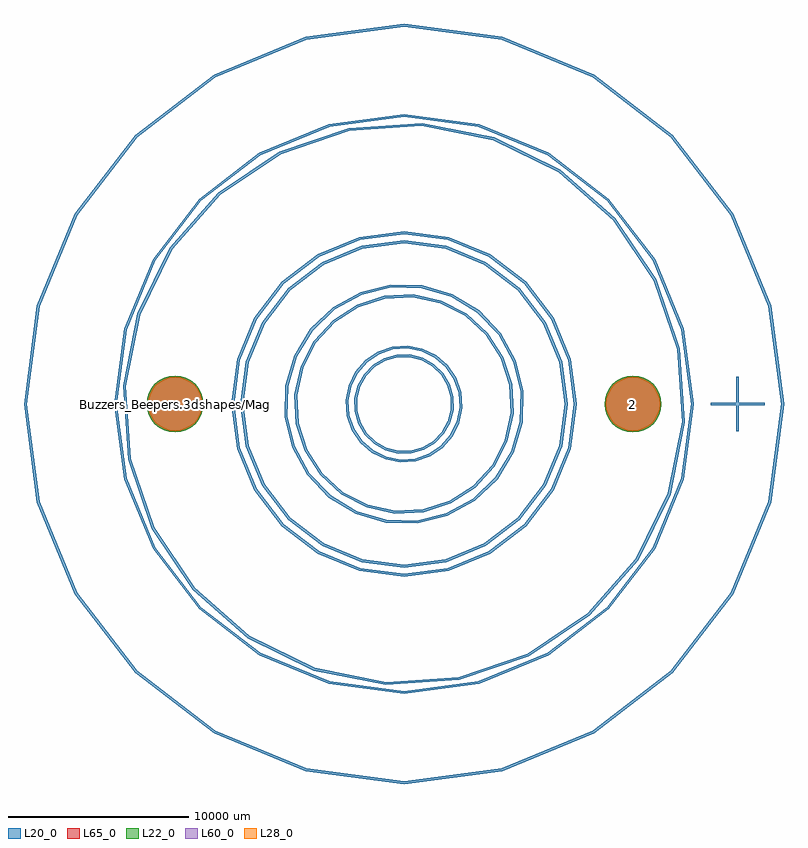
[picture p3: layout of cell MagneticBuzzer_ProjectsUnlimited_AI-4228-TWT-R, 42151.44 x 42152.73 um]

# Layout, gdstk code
import gdstk
lib = gdstk.Library(unit=1e-6, precision=1e-09)
def P(c, l, *ps):  # polygons
    for p in ps: c.add(gdstk.Polygon(p, *l))
L20_0 = (20, 0)
L22_0 = (22, 0)
L28_0 = (28, 0)
L60_0 = (60, 0)
L65_0 = (65, 0)

magneticbuzzer_projectsu = lib.new_cell('MagneticBuzzer_ProjectsUnlimited_AI-4228-TWT-R')
P(magneticbuzzer_projectsu, L22_0, [(26974.87,0),(26944.609,307.242),(26854.99,602.677),(26709.457,874.951),(26513.601,1113.601),(26274.951,1309.457),(26002.677,1454.99),(25707.242,1544.609),(25400,1574.87),(25092.758,1544.609),(24797.323,1454.99),(24525.049,1309.457),(24286.399,1113.601),(24090.543,874.951),(23945.01,602.677),(23855.391,307.242),(23825.13,0),(23855.391,-307.242),(23945.01,-602.677),(24090.543,-874.951),(24286.399,-1113.601),(24525.049,-1309.457),(24797.323,-1454.99),(25092.758,-1544.609),(25400,-1574.87),(25707.242,-1544.609),(26002.677,-1454.99),(26274.951,-1309.457),(26513.601,-1113.601),(26709.457,-874.951),(26854.99,-602.677),(26944.609,-307.242)],
  [(1574.87,0),(1544.609,307.242),(1454.99,602.677),(1309.457,874.951),(1113.601,1113.601),(874.951,1309.457),(602.677,1454.99),(307.242,1544.609),(0,1574.87),(-307.242,1544.609),(-602.677,1454.99),(-874.951,1309.457),(-1113.601,1113.601),(-1309.457,874.951),(-1454.99,602.677),(-1544.609,307.242),(-1574.87,0),(-1544.609,-307.242),(-1454.99,-602.677),(-1309.457,-874.951),(-1113.601,-1113.601),(-874.951,-1309.457),(-602.677,-1454.99),(-307.242,-1544.609),(0,-1574.87),(307.242,-1544.609),(602.677,-1454.99),(874.951,-1309.457),(1113.601,-1113.601),(1309.457,-874.951),(1454.99,-602.677),(1544.609,-307.242)])
P(magneticbuzzer_projectsu, L28_0, [(26899.87,0),(26871.05,292.61),(26785.699,573.975),(26647.096,833.283),(26460.568,1060.568),(26233.283,1247.096),(25973.975,1385.699),(25692.61,1471.05),(25400,1499.87),(25107.39,1471.05),(24826.025,1385.699),(24566.717,1247.096),(24339.432,1060.568),(24152.904,833.283),(24014.301,573.975),(23928.95,292.61),(23900.13,0),(23928.95,-292.61),(24014.301,-573.975),(24152.904,-833.283),(24339.432,-1060.568),(24566.717,-1247.096),(24826.025,-1385.699),(25107.39,-1471.05),(25400,-1499.87),(25692.61,-1471.05),(25973.975,-1385.699),(26233.283,-1247.096),(26460.568,-1060.568),(26647.096,-833.283),(26785.699,-573.975),(26871.05,-292.61)],
  [(1499.87,0),(1471.05,292.61),(1385.699,573.975),(1247.096,833.283),(1060.568,1060.568),(833.283,1247.096),(573.975,1385.699),(292.61,1471.05),(0,1499.87),(-292.61,1471.05),(-573.975,1385.699),(-833.283,1247.096),(-1060.568,1060.568),(-1247.096,833.283),(-1385.699,573.975),(-1471.05,292.61),(-1499.87,0),(-1471.05,-292.61),(-1385.699,-573.975),(-1247.096,-833.283),(-1060.568,-1060.568),(-833.283,-1247.096),(-573.975,-1385.699),(-292.61,-1471.05),(0,-1499.87),(292.61,-1471.05),(573.975,-1385.699),(833.283,-1247.096),(1060.568,-1060.568),(1247.096,-833.283),(1385.699,-573.975),(1471.05,-292.61)])
P(magneticbuzzer_projectsu, L60_0, [(26899.87,0),(26871.05,292.61),(26785.699,573.975),(26647.096,833.283),(26460.568,1060.568),(26233.283,1247.096),(25973.975,1385.699),(25692.61,1471.05),(25400,1499.87),(25107.39,1471.05),(24826.025,1385.699),(24566.717,1247.096),(24339.432,1060.568),(24152.904,833.283),(24014.301,573.975),(23928.95,292.61),(23900.13,0),(23928.95,-292.61),(24014.301,-573.975),(24152.904,-833.283),(24339.432,-1060.568),(24566.717,-1247.096),(24826.025,-1385.699),(25107.39,-1471.05),(25400,-1499.87),(25692.61,-1471.05),(25973.975,-1385.699),(26233.283,-1247.096),(26460.568,-1060.568),(26647.096,-833.283),(26785.699,-573.975),(26871.05,-292.61)],
  [(1499.87,0),(1471.05,292.61),(1385.699,573.975),(1247.096,833.283),(1060.568,1060.568),(833.283,1247.096),(573.975,1385.699),(292.61,1471.05),(0,1499.87),(-292.61,1471.05),(-573.975,1385.699),(-833.283,1247.096),(-1060.568,1060.568),(-1247.096,833.283),(-1385.699,573.975),(-1471.05,292.61),(-1499.87,0),(-1471.05,-292.61),(-1385.699,-573.975),(-1247.096,-833.283),(-1060.568,-1060.568),(-833.283,-1247.096),(-573.975,-1385.699),(-292.61,-1471.05),(0,-1499.87),(292.61,-1471.05),(573.975,-1385.699),(833.283,-1247.096),(1060.568,-1060.568),(1247.096,-833.283),(1385.699,-573.975),(1471.05,-292.61)])
P(magneticbuzzer_projectsu, L65_0, [(26974.87,0),(26944.609,307.242),(26854.99,602.677),(26709.457,874.951),(26513.601,1113.601),(26274.951,1309.457),(26002.677,1454.99),(25707.242,1544.609),(25400,1574.87),(25092.758,1544.609),(24797.323,1454.99),(24525.049,1309.457),(24286.399,1113.601),(24090.543,874.951),(23945.01,602.677),(23855.391,307.242),(23825.13,0),(23855.391,-307.242),(23945.01,-602.677),(24090.543,-874.951),(24286.399,-1113.601),(24525.049,-1309.457),(24797.323,-1454.99),(25092.758,-1544.609),(25400,-1574.87),(25707.242,-1544.609),(26002.677,-1454.99),(26274.951,-1309.457),(26513.601,-1113.601),(26709.457,-874.951),(26854.99,-602.677),(26944.609,-307.242)],
  [(1574.87,0),(1544.609,307.242),(1454.99,602.677),(1309.457,874.951),(1113.601,1113.601),(874.951,1309.457),(602.677,1454.99),(307.242,1544.609),(0,1574.87),(-307.242,1544.609),(-602.677,1454.99),(-874.951,1309.457),(-1113.601,1113.601),(-1309.457,874.951),(-1454.99,602.677),(-1544.609,307.242),(-1574.87,0),(-1544.609,-307.242),(-1454.99,-602.677),(-1309.457,-874.951),(-1113.601,-1113.601),(-874.951,-1309.457),(-602.677,-1454.99),(-307.242,-1544.609),(0,-1574.87),(307.242,-1544.609),(602.677,-1454.99),(874.951,-1309.457),(1113.601,-1113.601),(1309.457,-874.951),(1454.99,-602.677),(1544.609,-307.242)])
magneticbuzzer_projectsu.add(gdstk.FlexPath([(33700.72,0),(32985.138,5435.386),(30887.157,10500.36),(27549.752,14849.752),(23200.36,18187.157),(18135.386,20285.138),(12700,21000.72),(7264.614,20285.138),(2199.64,18187.157),(-2149.752,14849.752),(-5487.157,10500.36),(-7585.138,5435.386),(-8300.72,0),(-7585.138,-5435.386),(-5487.157,-10500.36),(-2149.752,-14849.752),(2199.64,-18187.157),(7264.614,-20285.138),(12700,-21000.72),(18135.386,-20285.138),(23200.36,-18187.157),(27549.752,-14849.752),(30887.157,-10500.36),(32985.138,-5435.386),(33700.72,0)], 149.998, ends="flush", simple_path=True, layer=20, datatype=0))  # L20_0
magneticbuzzer_projectsu.add(gdstk.FlexPath([(28699.46,0),(28154.292,4140.965),(26555.939,7999.73),(24013.327,11313.327),(20699.73,13855.939),(16840.965,15454.292),(12700,15999.46),(8559.035,15454.292),(4700.27,13855.939),(1386.673,11313.327),(-1155.939,7999.73),(-2754.292,4140.965),(-3299.46,0),(-2754.292,-4140.965),(-1155.939,-7999.73),(1386.673,-11313.327),(4700.27,-13855.939),(8559.035,-15454.292),(12700,-15999.46),(16840.965,-15454.292),(20699.73,-13855.939),(24013.327,-11313.327),(26555.939,-7999.73),(28154.292,-4140.965),(28699.46,0)], 149.998, ends="flush", simple_path=True, layer=20, datatype=0))  # L20_0
magneticbuzzer_projectsu.add(gdstk.FlexPath([(28199.08,-1000.76),(27929.977,3044.797),(26622.977,6882.856),(24367.149,10251.86),(21316.224,12922.217),(17678.117,14711.946),(13700.76,15499.08),(9655.203,15229.977),(5817.144,13922.977),(2448.14,11667.149),(-222.217,8616.224),(-2011.946,4978.117),(-2799.08,1000.76),(-2529.977,-3044.797),(-1222.977,-6882.856),(1032.851,-10251.86),(4083.776,-12922.217),(7721.883,-14711.946),(11699.24,-15499.08),(15744.797,-15229.977),(19582.856,-13922.977),(22951.86,-11667.149),(25622.217,-8616.224),(27411.946,-4978.117),(28199.08,-1000.76)], 149.998, ends="flush", simple_path=True, layer=20, datatype=0))  # L20_0
magneticbuzzer_projectsu.add(gdstk.FlexPath([(22199.6,0),(21875.909,2458.677),(20926.895,4749.8),(19417.232,6717.232),(17449.8,8226.895),(15158.677,9175.909),(12700,9499.6),(10241.323,9175.909),(7950.2,8226.895),(5982.768,6717.232),(4473.105,4749.8),(3524.091,2458.677),(3200.4,0),(3524.091,-2458.677),(4473.105,-4749.8),(5982.768,-6717.232),(7950.2,-8226.895),(10241.323,-9175.909),(12700,-9499.6),(15158.677,-9175.909),(17449.8,-8226.895),(19417.232,-6717.232),(20926.895,-4749.8),(21875.909,-2458.677),(22199.6,0)], 149.998, ends="flush", simple_path=True, layer=20, datatype=0))  # L20_0
magneticbuzzer_projectsu.add(gdstk.FlexPath([(21699.22,0),(21392.579,2329.17),(20493.553,4499.61),(19063.409,6363.409),(17199.61,7793.553),(15029.17,8692.579),(12700,8999.22),(10370.83,8692.579),(8200.39,7793.553),(6336.591,6363.409),(4906.447,4499.61),(4007.421,2329.17),(3700.78,0),(4007.421,-2329.17),(4906.447,-4499.61),(6336.591,-6363.409),(8200.39,-7793.553),(10370.83,-8692.579),(12700,-8999.22),(15029.17,-8692.579),(17199.61,-7793.553),(19063.409,-6363.409),(20493.553,-4499.61),(21392.579,-2329.17),(21699.22,0)], 149.998, ends="flush", simple_path=True, layer=20, datatype=0))  # L20_0
magneticbuzzer_projectsu.add(gdstk.FlexPath([(19199.86,-1000.76),(19237.398,715.628),(18829.424,2383.246),(18003.739,3888.451),(16816.614,5128.664),(15348.947,6019.367),(13700.76,6499.86),(11984.372,6537.398),(10316.754,6129.424),(8811.549,5303.739),(7571.336,4116.614),(6680.633,2648.947),(6200.14,1000.76),(6162.602,-715.628),(6570.576,-2383.246),(7396.261,-3888.451),(8583.386,-5128.664),(10051.053,-6019.367),(11699.24,-6499.86),(13415.628,-6537.398),(15083.246,-6129.424),(16588.451,-5303.739),(17828.664,-4116.614),(18719.367,-2648.947),(19199.86,-1000.76)], 149.998, ends="flush", simple_path=True, layer=20, datatype=0))  # L20_0
magneticbuzzer_projectsu.add(gdstk.FlexPath([(18699.48,-500.38),(18624.561,1069.45),(18145.892,2566.398),(17296.095,3888.451),(16133.082,4945.512),(14736.11,5665.545),(13200.38,5999.48),(11630.55,5924.561),(10133.602,5445.892),(8811.549,4596.095),(7754.488,3433.082),(7034.455,2036.11),(6700.52,500.38),(6775.439,-1069.45),(7254.108,-2566.398),(8103.905,-3888.451),(9266.918,-4945.512),(10663.89,-5665.545),(12199.62,-5999.48),(13769.45,-5924.561),(15266.398,-5445.892),(16588.451,-4596.095),(17645.512,-3433.082),(18365.545,-2036.11),(18699.48,-500.38)], 149.998, ends="flush", simple_path=True, layer=20, datatype=0))  # L20_0
magneticbuzzer_projectsu.add(gdstk.FlexPath([(15699.74,-1000.76),(15856.542,-190.27),(15798.231,633.186),(15528.781,1413.492),(15066.554,2097.471),(14443.05,2638.511),(13700.76,2999.74),(12890.27,3156.542),(12066.814,3098.231),(11286.508,2828.781),(10602.529,2366.554),(10061.489,1743.05),(9700.26,1000.76),(9543.458,190.27),(9601.769,-633.186),(9871.219,-1413.492),(10333.446,-2097.471),(10956.95,-2638.511),(11699.24,-2999.74),(12509.73,-3156.542),(13333.186,-3098.231),(14113.492,-2828.781),(14797.471,-2366.554),(15338.511,-1743.05),(15699.74,-1000.76)], 149.998, ends="flush", simple_path=True, layer=20, datatype=0))  # L20_0
magneticbuzzer_projectsu.add(gdstk.FlexPath([(15199.36,-1000.76),(15373.212,-319.778),(15364.889,382.996),(15174.959,1059.67),(14816.364,1664.129),(14313.542,2155.181),(13700.76,2499.36),(13019.778,2673.212),(12317.004,2664.889),(11640.33,2474.959),(11035.871,2116.364),(10544.819,1613.542),(10200.64,1000.76),(10026.788,319.778),(10035.111,-382.996),(10225.041,-1059.67),(10583.636,-1664.129),(11086.458,-2155.181),(11699.24,-2499.36),(12380.222,-2673.212),(13082.996,-2664.889),(13759.67,-2474.959),(14364.129,-2116.364),(14855.181,-1613.542),(15199.36,-1000.76)], 149.998, ends="flush", simple_path=True, layer=20, datatype=0))  # L20_0
magneticbuzzer_projectsu.add(gdstk.FlexPath([(29700.22,0),(32699.96,0)], 149.998, ends="flush", simple_path=True, layer=20, datatype=0))  # L20_0
magneticbuzzer_projectsu.add(gdstk.FlexPath([(31198.82,0),(29700.22,0)], 149.998, ends="flush", simple_path=True, layer=20, datatype=0))  # L20_0
magneticbuzzer_projectsu.add(gdstk.FlexPath([(31198.82,0),(31198.82,1501.14)], 149.998, ends="flush", simple_path=True, layer=20, datatype=0))  # L20_0
magneticbuzzer_projectsu.add(gdstk.FlexPath([(31198.82,0),(31198.82,-1501.14)], 149.998, ends="flush", simple_path=True, layer=20, datatype=0))  # L20_0
magneticbuzzer_projectsu.add(gdstk.Label('Buzzers_Beepers.3dshapes/MagneticBuzzer_ProjectsUnlimited_AI-4228-TWT-R.wrl', (0,0), layer=12, texttype=0))
magneticbuzzer_projectsu.add(gdstk.Label('2', (25400,0), layer=28, texttype=0))
magneticbuzzer_projectsu.add(gdstk.Label('1', (0,0), layer=28, texttype=0))
magneticbuzzer_projectsu.add(gdstk.Label('+', (35199.32,0), layer=9, texttype=0))
magneticbuzzer_projectsu.add(gdstk.Label('type', (12700,-22999.7), layer=9, texttype=0))
magneticbuzzer_projectsu.add(gdstk.Label('devicename', (11699.24,24000.46), layer=9, texttype=0))

lib.write_gds('MagneticBuzzer_ProjectsUnlimited_AI-4228-TWT-R.gds')
